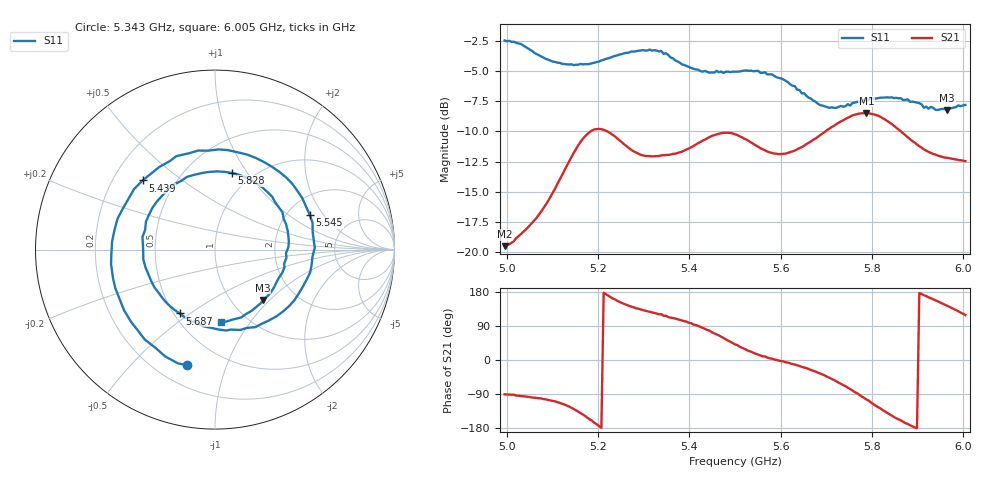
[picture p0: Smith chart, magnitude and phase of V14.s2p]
!File created by NanoVNA
# Hz S RI R 50
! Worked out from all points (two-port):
!   201 points, 4.995 GHz to 6.005 GHz, reference 50 ohm
!   highest |S21| = -8.47 dB at 5.788 GHz (marker M1); lowest = -19.5 dB at 4.995 GHz (marker M2)
!   |S21| within 3 dB of the highest: 5.395 GHz to 5.561 GHz (165.6 MHz wide, 3.02 % of centre); 5.637 GHz to 5.914 GHz (277 MHz wide, 4.8 % of centre)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
!   lowest |S11| = -8.2 dB at 5.965 GHz (marker M3), VSWR 2.27, Z = 69 - j45.6 ohm
!   |S11| at or under -10 dB: nowhere
!   S12 and S22 are empty: the file has one direction only
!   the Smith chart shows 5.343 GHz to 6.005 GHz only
!   S11 on the Smith chart (normalised r, x): 5.343 GHz: 0.32, -0.74; 5.439 GHz: 0.33, +0.36; 5.545 GHz: 2.64, +1.49; 5.687 GHz: 0.54, -0.46; 5.828 GHz: 0.81, +0.85; 6.005 GHz: 0.76, -0.74
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4.995e9  0.2116 -0.7225  -0.00115 -0.1059  0 0  0 0
5.03035e9  -0.3124 -0.6582  -0.0103 -0.1182  0 0  0 0
5.0758e9  -0.6396 -0.0854  -0.0297 -0.145  0 0  0 0
5.1263e9  -0.3458 0.4916  -0.1003 -0.194  0 0  0 0
5.1667e9  0.1095 0.5892  -0.2386 -0.1741  0 0  0 0
5.2576e9  0.658 -0.1079  -0.2359 0.149  0 0  0 0
5.33335e9  0.00125 -0.6776  -0.1279 0.215  0 0  0 0
5.34345e9  -0.1553 -0.644  -0.1133 0.2251  0 0  0 0
5.3889e9  -0.5557 -0.2144  -0.0565 0.2573  0 0  0 0
5.4394e9  -0.4038 0.3851  0.055 0.2911  0 0  0 0
5.5e9  0.2274 0.5108  0.2317 0.2023  0 0  0 0
5.54545e9  0.5286 0.1927  0.2654 0.079  0 0  0 0
5.6212e9  0.2953 -0.3975  0.2567 -0.0402  0 0  0 0
5.6717e9  -0.1038 -0.411  0.2566 -0.1398  0 0  0 0
5.68685e9  -0.1962 -0.3557  0.2483 -0.1779  0 0  0 0
5.7323e9  -0.3994 -0.0547  0.1593 -0.3095  0 0  0 0
5.78785e9  -0.2365 0.3599  -0.092 -0.3656  0 0  0 0
5.82825e9  0.0936 0.4269  -0.2531 -0.2486  0 0  0 0
5.83835e9  0.1633 0.4051  -0.2749 -0.2079  0 0  0 0
5.8939e9  0.405 0.1041  -0.2841 -0.0101  0 0  0 0
5.9646e9  0.2672 -0.281  -0.197 0.1472  0 0  0 0
6.005e9  0.0319 -0.4057  -0.1139 0.2093  0 0  0 0
